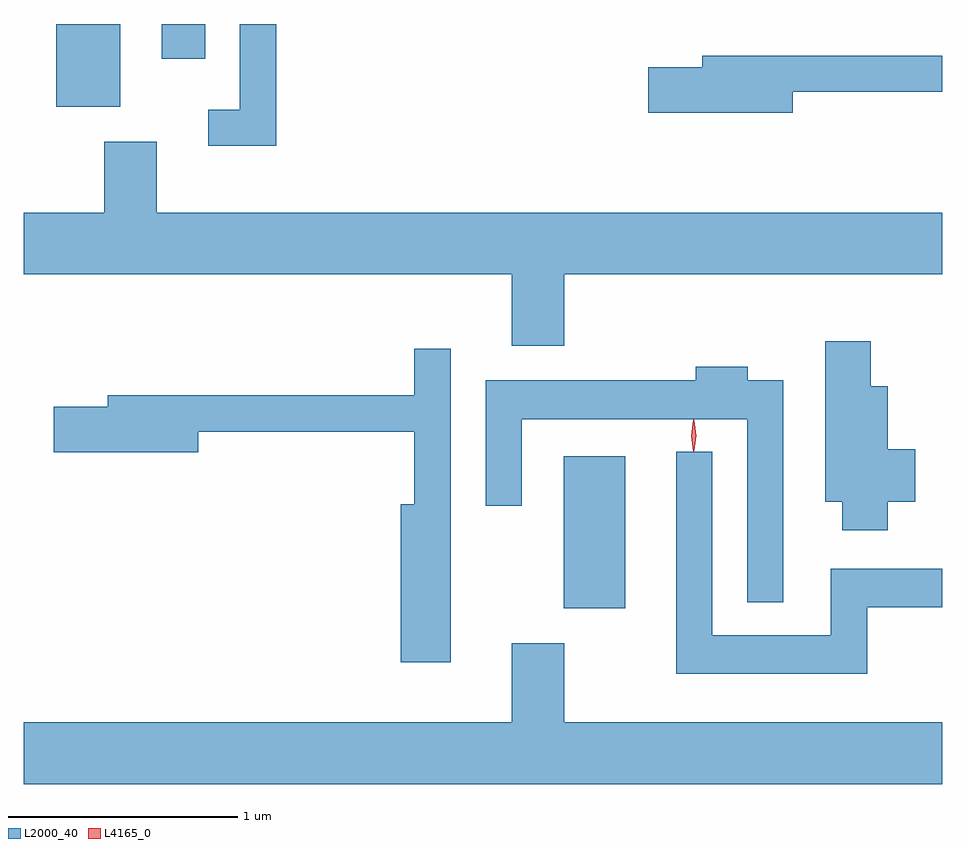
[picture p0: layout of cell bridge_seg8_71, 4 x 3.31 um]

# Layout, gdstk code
import gdstk
lib = gdstk.Library(unit=1e-6, precision=1e-09)
def R(c, l, rs):  # rectangles x0, y0, x1, y1
    for r in rs: c.add(gdstk.rectangle(r[:2], r[2:], *l))
def P(c, l, *ps):  # polygons
    for p in ps: c.add(gdstk.Polygon(p, *l))
L2000_40 = (2000, 40)
L4165_0 = (4165, 0)

bridge_seg8_71 = lib.new_cell('bridge_seg8_71')
R(bridge_seg8_71, L2000_40, [(1525.806,1821.641,1526.074,1822.304), (1523.596,1823.826,1523.874,1824.187), (1524.056,1824.036,1524.244,1824.187)])
P(bridge_seg8_71, L2000_40, [(1524.554,1824.187),(1524.396,1824.187),(1524.396,1823.814),(1524.258,1823.814),(1524.258,1823.656),(1524.554,1823.656)],
  [(1526.804,1823.891),(1527.455,1823.891),(1527.455,1824.049),(1526.411,1824.049),(1526.411,1823.999),(1526.176,1823.999),(1526.176,1823.801),(1526.804,1823.801)],
  [(1525.809,1823.096),(1527.455,1823.096),(1527.455,1823.364),(1524.034,1823.364),(1524.034,1823.674),(1523.806,1823.674),(1523.806,1823.364),(1523.455,1823.364),(1523.455,1823.096),(1525.581,1823.096),(1525.581,1822.786),(1525.809,1822.786)],
  [(1527.219,1822.106),(1527.339,1822.106),(1527.339,1822.334),(1527.219,1822.334),(1527.219,1822.609),(1527.144,1822.609),(1527.144,1822.804),(1526.946,1822.804),(1526.946,1822.106),(1527.021,1822.106),(1527.021,1821.981),(1527.219,1821.981)],
  [(1525.314,1822.773),(1525.156,1822.773),(1525.156,1822.569),(1523.821,1822.569),(1523.821,1822.519),(1523.586,1822.519),(1523.586,1822.321),(1524.214,1822.321),(1524.214,1822.411),(1525.156,1822.411),(1525.156,1822.094),(1525.096,1822.094),(1525.096,1821.406),(1525.314,1821.406)],
  [(1526.764,1822.634),(1526.609,1822.634),(1526.609,1822.694),(1526.381,1822.694),(1526.381,1822.634),(1525.466,1822.634),(1525.466,1822.088),(1525.624,1822.088),(1525.624,1822.466),(1526.606,1822.466),(1526.606,1821.668),(1526.764,1821.668)],
  [(1527.129,1821.646),(1527.455,1821.646),(1527.455,1821.814),(1526.971,1821.814),(1526.971,1821.524),(1526.454,1821.524),(1526.454,1822.323),(1526.296,1822.323),(1526.296,1821.356),(1527.129,1821.356)],
  [(1527.455,1821.144),(1525.809,1821.144),(1525.809,1821.489),(1525.581,1821.489),(1525.581,1821.144),(1523.455,1821.144),(1523.455,1820.876),(1527.455,1820.876)])
P(bridge_seg8_71, L4165_0, [(1526.373,1822.323),(1526.372,1822.324),(1526.363,1822.393),(1526.372,1822.462),(1526.373,1822.463),(1526.373,1822.462),(1526.383,1822.393),(1526.373,1822.324)],
  [(1526.374,1822.327),(1526.374,1822.328),(1526.364,1822.394),(1526.374,1822.46),(1526.374,1822.46),(1526.375,1822.46),(1526.384,1822.394),(1526.375,1822.328)])

lib.write_gds('bridge_seg8_71.gds')
